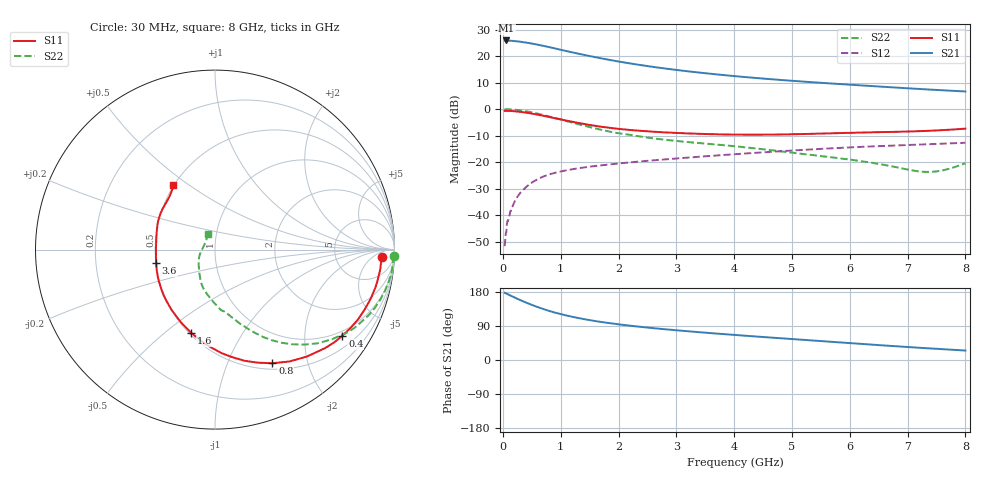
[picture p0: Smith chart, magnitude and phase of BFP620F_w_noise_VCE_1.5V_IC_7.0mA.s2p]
! Infineon Technologies  Discrete & RF Semiconductors
! BFP620F
! VCE =  1.5 V,  IC =  7.0 mA
! Common Emitter S-Parameters:  Dec 2014
# GHz  S  MA  R  50
!  f  S11  S21  S12  S22
! GHz  MAG  ANG  MAG  ANG  MAG  ANG  MAG  ANG
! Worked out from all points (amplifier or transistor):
!   95 points, 30 MHz to 8 GHz, reference 50 ohm
!   highest |S21| = 25.9 dB at 60 MHz (marker M1)
!   |S21| within 3 dB of that: start of sweep to 899.6 MHz
!   unconditionally stable (mu >= 1): 4.591 GHz to end of sweep
!   at 300 MHz: K = 0.10, MSG = 28.5 dB, |S12| = -31.6 dB
!   at 3.3 GHz: K = 0.91, MSG = 16.1 dB, |S12| = -18.1 dB
!   at 8 GHz: K = 1.10, MAG = 7.7 dB, |S12| = -12.7 dB
!   lowest NFmin = 0.55 dB at 450 MHz
!   S11 on the Smith chart (normalised r, x): 30 MHz: 20, -12; 400 MHz: 0.84, -3.05; 800 MHz: 0.58, -1.47; 1.6 GHz: 0.51, -0.62; 3.6 GHz: 0.50, -0.09; 8 GHz: 0.50, +0.44
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0.03  0.9287 -2.5  19.64 177.4  0.0026 96.8  0.9952 -2.0
0.06  0.927 -5.3  19.69 175.4  0.0048 83.8  0.9942 -4.0
0.15  0.9185 -13.2  19.42 168.8  0.0132 84.0  0.9848 -10.2
0.25  0.8985 -21.7  18.97 161.5  0.0221 79.5  0.9624 -16.8
0.4  0.8567 -34.1  17.99 151.6  0.0338 72.6  0.9096 -26.3
0.5  0.8233 -41.8  17.23 145.5  0.0411 68.9  0.8694 -32.1
0.6  0.7853 -49.4  16.41 139.7  0.0477 65.3  0.8209 -37.5
0.8  0.7095 -63.2  14.75 129.5  0.0585 59.3  0.7262 -46.8
0.9  0.6729 -69.4  13.94 125.1  0.0628 57.0  0.6797 -50.9
1.1  0.6065 -81.0  12.41 117.4  0.0701 53.2  0.5937 -58.1
1.2  0.5778 -86.4  11.75 114.0  0.0733 51.8  0.5565 -61.1
1.4  0.5257 -96.5  10.55 108.0  0.0792 49.5  0.4884 -66.6
1.6  0.4831 -105.9  9.525 102.7  0.0844 47.9  0.4319 -71.7
1.8  0.4504 -114.2  8.646 98.2  0.0893 46.6  0.386 -76.4
2.1  0.4139 -125.8  7.57 92.3  0.0966 44.9  0.3398 -84.1
2.7  0.3693 -144.8  6.035 82.6  0.1102 43.0  0.2721 -95.4
3.6  0.3364 -167.0  4.627 70.9  0.1311 40.4  0.2187 -108.3
4.1  0.3295 -177.1  4.101 65.1  0.1431 38.7  0.195 -113.8
5.4  0.3432 160.4  3.187 51.0  0.1753 33.1  0.1343 -132.1
6.7  0.3708 141.0  2.586 37.3  0.204 25.9  0.0843 -166.3
7.4  0.3911 130.1  2.329 30.4  0.2183 22.4  0.0653 152.6
8  0.4275 122.8  2.147 24.9  0.2314 18.9  0.0951 113.9
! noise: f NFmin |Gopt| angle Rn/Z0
0.45  0.55  0.38  9  0.25
0.9  0.61  0.35  19  0.22
1.5  0.68  0.32  24  0.19
1.8  0.71  0.3  27  0.18
1.9  0.72  0.25  40  0.19
2.4  0.77  0.22  56  0.17
3.5  0.88  0.21  75  0.14
5.5  1.08  0.14  162  0.12
6  1.12  0.11  185  0.21
